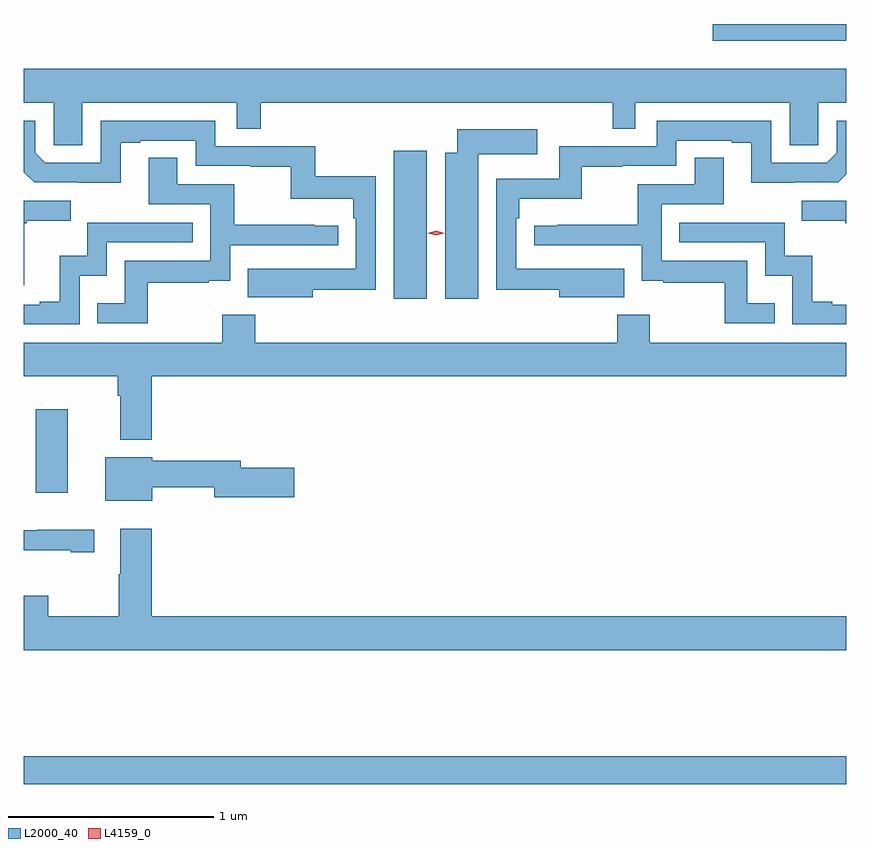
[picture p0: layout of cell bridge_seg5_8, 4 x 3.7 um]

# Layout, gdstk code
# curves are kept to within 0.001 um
import gdstk
lib = gdstk.Library(unit=1e-6, precision=1e-09)
def R(c, l, rs):  # rectangles x0, y0, x1, y1
    for r in rs: c.add(gdstk.rectangle(r[:2], r[2:], *l))
def P(c, l, *ps):  # polygons
    for p in ps: c.add(gdstk.Polygon(p, *l))
L2000_40 = (2000, 40)
L4159_0 = (4159, 0)

bridge_seg5_8 = lib.new_cell('bridge_seg5_8')
R(bridge_seg5_8, L2000_40, [(909.893,876.088,913.893,876.224), (909.95,877.506,910.105,877.912), (911.693,878.448,911.854,879.169), (913.245,879.704,913.893,879.786)])
P(bridge_seg5_8, L2000_40, [(910.177,879.404),(910.929,879.404),(910.929,879.277),(911.045,879.277),(911.045,879.404),(912.759,879.404),(912.759,879.277),(912.867,879.277),(912.867,879.404),(913.619,879.404),(913.619,879.196),(913.758,879.196),(913.758,879.404),(913.893,879.404),(913.893,879.568),(909.893,879.568),(909.893,879.404),(910.038,879.404),(910.038,879.196),(910.177,879.196)],
  [(912.815,878.596),(912.288,878.595),(912.288,878.84),(912.302,878.84),(912.302,878.936),(912.607,878.936),(912.607,879.091),(912.803,879.091),(912.803,879.096),(913.068,879.096),(913.068,879.219),(913.337,879.219),(913.337,879.207),(913.433,879.207),(913.433,879.014),(913.854,879.015),(913.893,879.054),(913.893,879.315),(913.848,879.315),(913.848,879.159),(913.8,879.111),(913.53,879.111),(913.53,879.315),(912.972,879.315),(912.972,879.192),(912.498,879.192),(912.498,879.033),(912.192,879.033),(912.192,878.494),(912.497,878.494),(912.497,878.456),(912.815,878.456)],
  [(911.299,878.494),(911.604,878.494),(911.604,879.046),(911.311,879.046),(911.311,879.192),(910.824,879.192),(910.824,879.315),(910.266,879.315),(910.266,879.111),(909.996,879.111),(909.948,879.159),(909.948,879.315),(909.893,879.315),(909.893,879.064),(909.942,879.015),(910.363,879.014),(910.363,879.207),(910.459,879.207),(910.459,879.219),(910.728,879.219),(910.728,879.096),(910.993,879.096),(910.993,879.091),(911.19,879.091),(911.19,878.936),(911.495,878.936),(911.495,878.84),(911.508,878.84),(911.508,878.595),(910.981,878.596),(910.981,878.456),(911.299,878.456)],
  [(912.103,879.152),(912.391,879.152),(912.391,879.274),(912.002,879.274),(912.002,879.16),(911.942,879.16),(911.942,878.448),(912.103,878.448)],
  [(910.495,878.526),(910.793,878.526),(910.793,878.537),(910.896,878.537),(910.896,878.709),(911.422,878.709),(911.422,878.805),(911.309,878.805),(911.309,878.81),(910.916,878.81),(910.916,879.006),(910.639,879.006),(910.639,879.134),(910.499,879.134),(910.499,878.91),(910.8,878.91),(910.8,878.634),(910.384,878.634),(910.384,878.428),(910.249,878.428),(910.249,878.331),(910.495,878.331)],
  [(913.547,878.428),(913.413,878.428),(913.413,878.634),(912.996,878.634),(912.996,878.91),(913.297,878.91),(913.297,879.134),(913.157,879.134),(913.157,879.006),(912.88,879.006),(912.88,878.81),(912.487,878.81),(912.487,878.805),(912.375,878.805),(912.375,878.709),(912.9,878.709),(912.9,878.537),(913.003,878.537),(913.003,878.526),(913.302,878.526),(913.302,878.331),(913.547,878.331)],
  [(913.893,878.925),(913.677,878.925),(913.677,878.828),(913.89,878.828),(913.89,878.817),(913.893,878.817)],
  [(909.895,878.817),(909.907,878.817),(909.907,878.828),(910.12,878.828),(910.12,878.925),(909.893,878.925),(909.893,878.514),(909.895,878.514)],
  [(913.893,878.421),(913.825,878.421),(913.825,878.434),(913.729,878.434),(913.729,878.659),(913.596,878.659),(913.596,878.82),(913.081,878.82),(913.081,878.724),(913.5,878.724),(913.5,878.561),(913.632,878.561),(913.632,878.325),(913.893,878.325)],
  [(910.164,878.561),(910.296,878.561),(910.296,878.724),(910.715,878.724),(910.715,878.82),(910.2,878.82),(910.2,878.659),(910.067,878.659),(910.067,878.434),(909.971,878.434),(909.971,878.421),(909.893,878.421),(909.893,878.325),(910.164,878.325)],
  [(910.514,878.072),(913.893,878.072),(913.893,878.236),(912.939,878.236),(912.939,878.371),(912.779,878.371),(912.779,878.236),(911.018,878.236),(911.018,878.371),(910.858,878.371),(910.858,878.236),(909.893,878.236),(909.893,878.072),(910.349,878.072),(910.349,877.976),(910.361,877.976),(910.361,877.763),(910.514,877.763)],
  [(910.516,877.531),(910.82,877.531),(910.82,877.484),(911.209,877.484),(911.209,877.626),(910.948,877.626),(910.948,877.66),(910.516,877.66),(910.516,877.678),(910.289,877.678),(910.289,877.466),(910.516,877.466)],
  [(913.893,876.904),(910.514,876.904),(910.514,877.33),(910.361,877.33),(910.361,877.109),(910.354,877.109),(910.354,876.904),(910.011,876.904),(910.011,877.003),(909.893,877.003),(909.893,876.74),(913.893,876.74)],
  [(910.234,877.325),(909.958,877.325),(909.958,877.323),(909.893,877.323),(909.893,877.225),(910.121,877.225),(910.121,877.215),(910.234,877.215)])
P(bridge_seg5_8, L4159_0, [(911.898,878.759),(911.858,878.769),(911.858,878.769),(911.858,878.769),(911.898,878.779),(911.938,878.769),(911.938,878.769),(911.938,878.769)])

lib.write_gds('bridge_seg5_8.gds')
